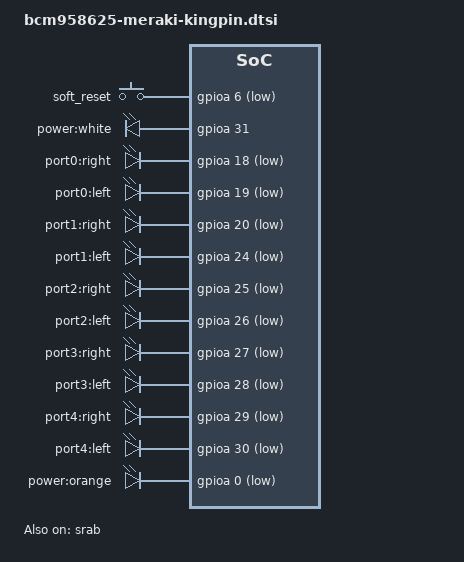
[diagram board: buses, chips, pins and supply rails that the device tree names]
// SPDX-License-Identifier: GPL-2.0-or-later OR MIT
/*
 * Device Tree Bindings for Cisco Meraki MX64 series (Kingpin).
 *
 * Copyright (C) 2020-2021 Matthew Hagan <mnhagan88@gmail.com>
 */

#include "bcm958625-meraki-mx6x-common.dtsi"

/ {

    gpio-buttons {
        compatible = "gpio-keys-polled";
        autorepeat;
        poll-interval = <20>;
        button@1 {
            label = "soft_reset";
            linux,code = <0x198>;     // EV_RESTART
            linux,input-type = <1>;   // EV_KEY
            debounce-interval = <60>;
            gpios = <&gpioa 6 1>;
        };
    };

    leds {
        compatible = "gpio-leds";
        white {
            label = "power:white";
            gpios = <&gpioa 31 0>;
            default-state = "off";
        };

        port0right {
            label = "port0:right";
            gpios = <&gpioa 18 1>;
            default-state = "off";
        };
        port0left {
            label = "port0:left";
            gpios = <&gpioa 19 1>;
            default-state = "off";
        };
        port1right {
            label = "port1:right";
            gpios = <&gpioa 20 1>;
            default-state = "off";
        };
        port1left {
            label = "port1:left";
            gpios = <&gpioa 24 1>;
            default-state = "off";
        };
        port2right {
            label = "port2:right";
            gpios = <&gpioa 25 1>;
            default-state = "off";
        };
        port2left {
            label = "port2:left";
            gpios = <&gpioa 26 1>;
            default-state = "off";
        };
        port3right {
            label = "port3:right";
            gpios = <&gpioa 27 1>;
            default-state = "off";
        };
        port3left {
            label = "port3:left";
            gpios = <&gpioa 28 1>;
            default-state = "off";
        };
        port4right {
            label = "port4:right";
            gpios = <&gpioa 29 1>;
            default-state = "off";
        };
        port4left {
            label = "port4:left";
            gpios = <&gpioa 30 1>;
            default-state = "off";
        };
    };
	power-led {
        compatible = "gpio-leds";
        orange {
            label = "power:orange";
            gpios = <&gpioa 0 1>;
            default-state = "on";
        };
    };
};

&srab {
	compatible = "brcm,bcm58625-srab", "brcm,nsp-srab";
	status = "okay";

	ports {
		#address-cells = <1>;
		#size-cells = <0>;

		port@0 {
			label = "lan0";
			reg = <0>;
		};

		port@1 {
			label = "lan1";
			reg = <1>;
		};

		port@2 {
			label = "lan2";
			reg = <2>;
		};

		port@3 {
			label = "lan3";
			reg = <3>;
		};

		port@4 {
			label = "wan";
			reg = <4>;
		};

		port@8 {
			ethernet = <&amac2>;
			reg = <8>;
			label = "cpu";
			fixed-link {
				speed = <1000>;
				full-duplex;
			};
		};
	};
};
